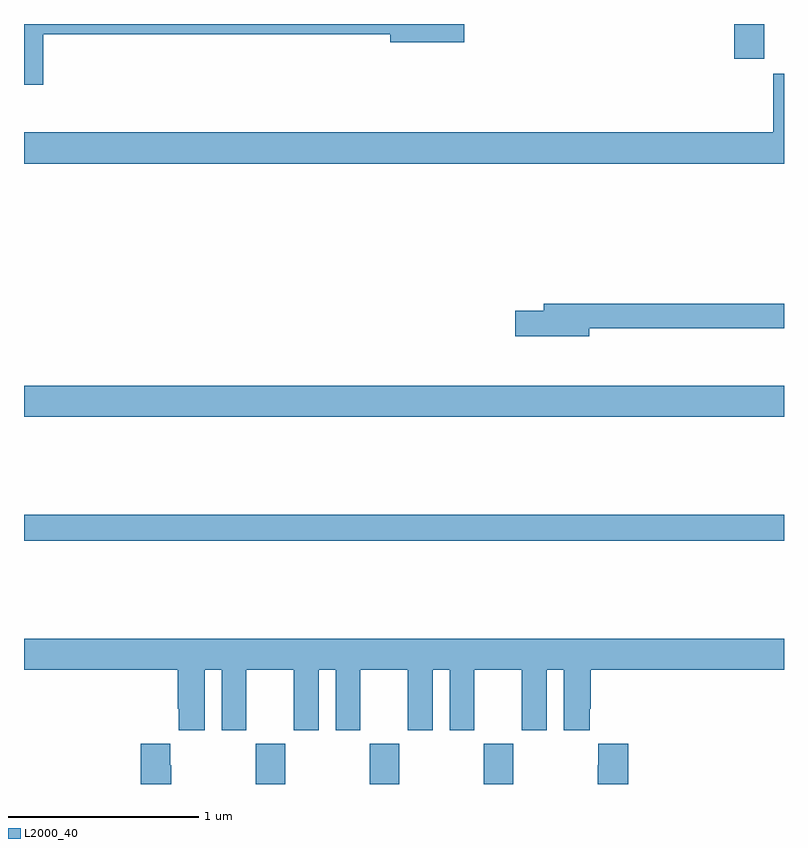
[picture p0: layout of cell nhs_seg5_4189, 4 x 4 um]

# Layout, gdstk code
import gdstk
lib = gdstk.Library(unit=1e-6, precision=1e-09)
def R(c, l, rs):  # rectangles x0, y0, x1, y1
    for r in rs: c.add(gdstk.rectangle(r[:2], r[2:], *l))
def A(c, l, x, y, w, h, nx, ny, dx, dy):  # array of equal rectangles
    R(c, l, [(x+i*dx, y+j*dy, x+i*dx+w, y+j*dy+h) for i in range(nx) for j in range(ny)])
def P(c, l, *ps):  # polygons
    for p in ps: c.add(gdstk.Polygon(p, *l))
L2000_40 = (2000, 40)

nhs_seg5_4189 = lib.new_cell('nhs_seg5_4189')
A(nhs_seg5_4189, L2000_40, 358.219, 882.799, 0.155, 0.213, 3, 1, 0.6, 0)
R(nhs_seg5_4189, L2000_40, [(357,884.08,361,884.216), (357,884.732,361,884.896), (360.737,886.617,360.897,886.799)])
P(nhs_seg5_4189, L2000_40, [(357.101,886.744),(358.928,886.744),(358.928,886.702),(359.317,886.702),(359.317,886.799),(357,886.799),(357,886.479),(357.101,886.479)],
  [(361,886.537),(360.944,886.537),(360.944,886.228),(357,886.228),(357,886.064),(361,886.064)],
  [(359.974,885.198),(361,885.198),(361,885.326),(359.735,885.326),(359.735,885.29),(359.586,885.29),(359.586,885.155),(359.974,885.155)],
  [(357.952,883.4),(358.04,883.4),(358.04,883.083),(358.171,883.083),(358.171,883.4),(358.421,883.4),(358.421,883.083),(358.552,883.083),(358.552,883.4),(358.64,883.4),(358.64,883.083),(358.771,883.083),(358.771,883.4),(359.021,883.4),(359.021,883.083),(359.152,883.083),(359.152,883.4),(359.24,883.4),(359.24,883.083),(359.371,883.083),(359.371,883.4),(359.621,883.4),(359.621,883.083),(359.752,883.083),(359.752,883.4),(359.84,883.4),(359.84,883.083),(359.977,883.083),(359.977,883.195),(359.984,883.195),(359.984,883.4),(361,883.4),(361,883.564),(357,883.564),(357,883.4),(357.809,883.4),(357.809,883.195),(357.815,883.195),(357.815,883.083),(357.952,883.083)],
  [(357.774,882.899),(357.769,882.899),(357.769,883.012),(357.614,883.012),(357.614,882.799),(357.774,882.799)],
  [(360.179,883.012),(360.023,883.012),(360.023,882.899),(360.019,882.899),(360.019,882.799),(360.179,882.799)])

lib.write_gds('nhs_seg5_4189.gds')
